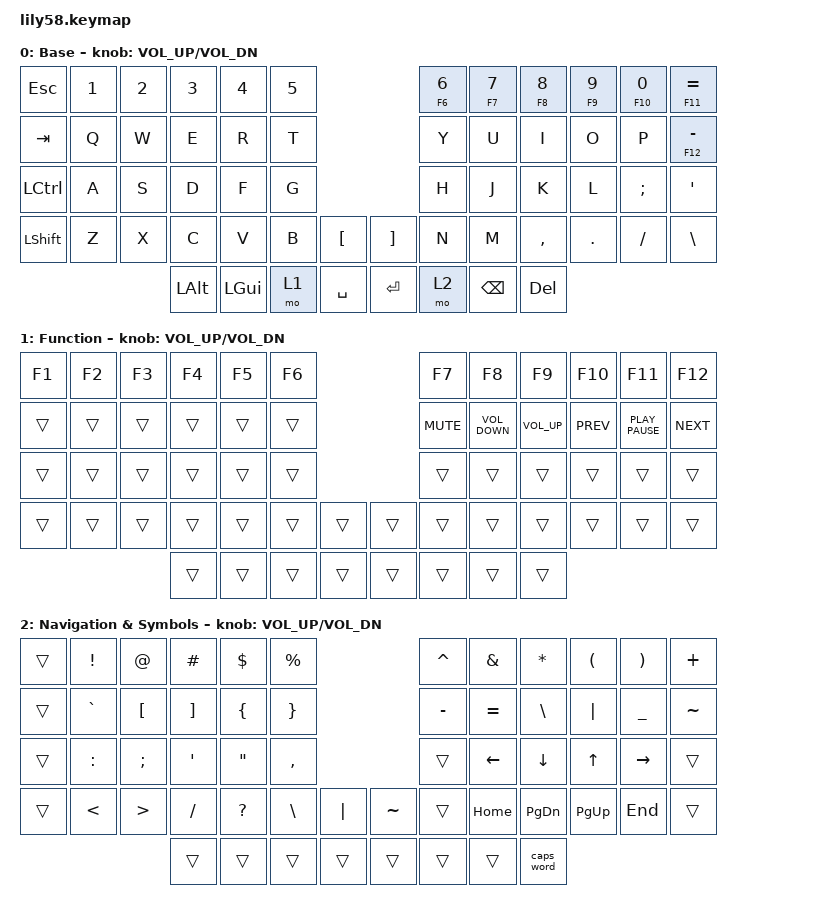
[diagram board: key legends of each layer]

/*
 * Copyright (c) 2020 The ZMK Contributors
 *
 * SPDX-License-Identifier: MIT
 */

#include <behaviors.dtsi>
#include <dt-bindings/zmk/keys.h>

/* Existing mod-tap configuration */
&mt {
    tapping-term-ms = <300>;
    flavor = "tap-preferred";
};

/* Caps Word: support underscores and hyphens */
&caps_word {
    continue-list = <UNDERSCORE MINUS BACKSPACE DELETE>;
};

/ {
    combos {
        compatible = "zmk,combos";

        combo_show_keymap {
            timeout-ms = <80>;
            key-positions = <52 55>;
            layers = <0>;
            bindings = <&kp F13>;
        };
    };
	
    keymap {
        compatible = "zmk,keymap";

        /* ==========================================
         * LAYER 0: BASE
         * Unchanged: QWERTY and gaming keys.
         * ========================================== */
        default_layer {
            display-name = "Base";

            bindings = <
&kp ESC    &kp NUMBER_1  &kp NUMBER_2  &kp NUMBER_3  &kp NUMBER_4  &kp NUMBER_5                         &mt F6 NUMBER_6  &mt F7 N7  &mt F8 N8  &mt F9 N9  &mt F10 N0  &mt F11 EQUAL
&kp TAB    &kp Q         &kp W         &kp E         &kp R         &kp T                                &kp Y            &kp U      &kp I      &kp O      &kp P       &mt F12 MINUS
&kp LCTRL  &kp A         &kp S         &kp D         &kp F         &kp G                                &kp H            &kp J      &kp K      &kp L      &kp SEMI    &kp SQT
&kp LSHFT  &kp Z         &kp X         &kp C         &kp V         &kp B         &kp LBKT     &kp RBKT  &kp N            &kp M      &kp COMMA  &kp DOT    &kp FSLH    &kp BSLH
                                       &kp LALT      &kp LGUI      &mo 1         &kp SPACE    &kp RET   &mo 2            &kp BSPC   &kp DEL
            >;

            sensor-bindings = <&inc_dec_kp C_VOL_UP C_VOL_DN>;
        };

        /* ==========================================
         * LAYER 1: LOWER
         * Function keys and media controls.
         * ========================================== */
        lower_layer {
            display-name = "Function";

            bindings = <
&kp F1    &kp F2    &kp F3    &kp F4    &kp F5    &kp F6                         &kp F7    &kp F8    &kp F9    &kp F10    &kp F11    &kp F12
&trans    &trans    &trans    &trans    &trans    &trans                         &kp C_MUTE &kp C_VOLUME_DOWN &kp C_VOLUME_UP &kp K_PREV &kp K_PLAY_PAUSE &kp K_NEXT
&trans    &trans    &trans    &trans    &trans    &trans                         &trans    &trans    &trans    &trans    &trans    &trans
&trans    &trans    &trans    &trans    &trans    &trans    &trans    &trans      &trans    &trans    &trans    &trans    &trans    &trans
                                      &trans    &trans    &trans    &trans      &trans    &trans    &trans    &trans
            >;

            sensor-bindings = <&inc_dec_kp C_VOL_UP C_VOL_DN>;
        };

        /* ==========================================
         * LAYER 2: RAISE
         * Programming symbols and navigation.
         * ========================================== */
        raise_layer {
            display-name = "Navigation & Symbols";

            bindings = <
&trans     &kp EXCL    &kp AT      &kp HASH    &kp DLLR    &kp PRCNT                       &kp CARET  &kp AMPS   &kp ASTRK  &kp LPAR   &kp RPAR   &kp PLUS
&trans     &kp GRAVE   &kp LBKT    &kp RBKT    &kp LBRC    &kp RBRC                        &kp MINUS  &kp EQUAL  &kp BSLH   &kp PIPE   &kp UNDER  &kp TILDE
&trans     &kp COLON   &kp SEMI    &kp SQT     &kp DQT     &kp COMMA                       &trans     &kp LEFT   &kp DOWN   &kp UP     &kp RIGHT  &trans
&trans     &kp LT      &kp GT      &kp FSLH    &kp QUESTION &kp BSLH   &kp PIPE  &kp TILDE  &trans     &kp HOME   &kp PG_DN  &kp PG_UP  &kp END    &trans
                                      &trans    &trans    &trans    &trans      &trans    &trans    &trans    &caps_word
            >;

            sensor-bindings = <&inc_dec_kp C_VOL_UP C_VOL_DN>;
        };
    };
};
